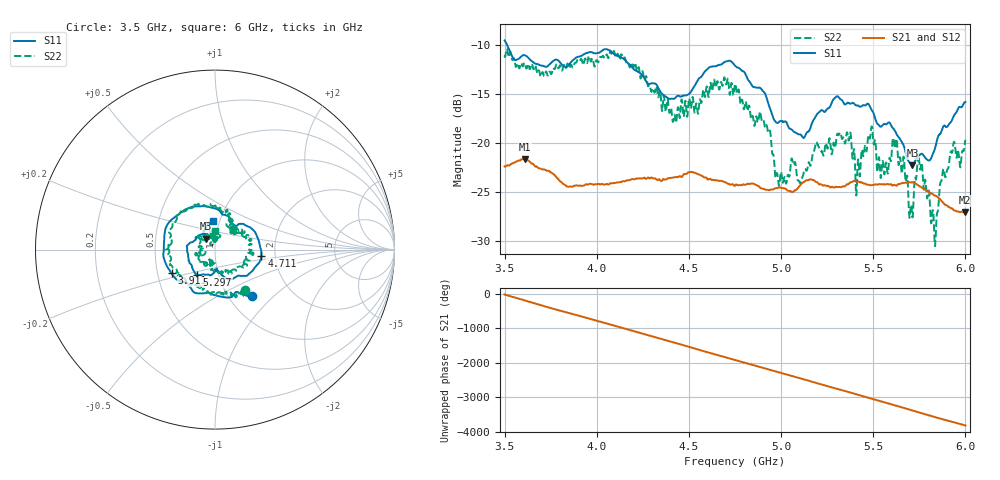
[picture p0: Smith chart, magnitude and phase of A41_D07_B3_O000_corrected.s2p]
! Created with skrf 1.9.0 (http://scikit-rf.org).
# Hz S RI R 50.0
!freq ReS11 ImS11 ReS21 ImS21 ReS12 ImS12 ReS22 ImS22
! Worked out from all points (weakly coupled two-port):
!   1601 points, 3.5 GHz to 6 GHz, reference 50 ohm
!   highest |S21| = -21.63 dB at 3.609 GHz (marker M1); lowest = -27.1 dB at 5.997 GHz (marker M2)
!   lowest |S11| = -22.3 dB at 5.713 GHz (marker M3), VSWR 1.17, Z = 45.1 + j5.45 ohm
!   |S11| at or under -10 dB: 3.513 GHz to end of sweep
!   |S22| runs from -30.5 to -10.4 dB; largest |S21 - S12| = 0.0009
!   S11 on the Smith chart (normalised r, x): 3.5 GHz: 1.27, -0.75; 3.911 GHz: 0.59, -0.17; 4.711 GHz: 1.69, -0.12; 5.297 GHz: 0.79, -0.23; 6 GHz: 0.93, +0.31
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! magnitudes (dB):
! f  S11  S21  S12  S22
! 3.5 GHz  -9.6  -22.4  -22.4  -11.1
! 3.609 GHz  -11.1  -21.6  -21.6  -11.9
! 3.911 GHz  -11.2  -24.3  -24.3  -11.6
! 3.917 GHz  -11.1  -24.4  -24.3  -11.5
! 4.334 GHz  -14.4  -23.7  -23.7  -15.4
! 4.422 GHz  -15.5  -23.5  -23.5  -17.1
! 4.711 GHz  -11.7  -24.1  -24.1  -13.5
! 4.75 GHz  -12.1  -24.3  -24.3  -14.0
! 4.931 GHz  -16.0  -24.8  -24.7  -18.9
! 4.981 GHz  -18.0  -24.6  -24.5  -23.3
! 5.167 GHz  -18.0  -23.7  -23.7  -21.6
! 5.297 GHz  -15.3  -24.4  -24.4  -20.1
! 5.416 GHz  -16.2  -24.0  -24.0  -22.1
! 5.484 GHz  -16.4  -24.3  -24.2  -19.3
! 5.584 GHz  -17.9  -24.2  -24.2  -22.1
! 5.619 GHz  -18.8  -24.3  -24.3  -20.5
! 5.713 GHz  -22.3  -24.0  -23.9  -27.6
! 5.753 GHz  -21.2  -24.4  -24.4  -22.6
! 5.839 GHz  -20.3  -25.4  -25.3  -29.4
! 5.873 GHz  -18.6  -25.9  -25.9  -23.4
! 5.997 GHz  -15.9  -27.1  -27.0  -20.1
! 6 GHz  -15.8  -27.1  -27.0  -19.7
